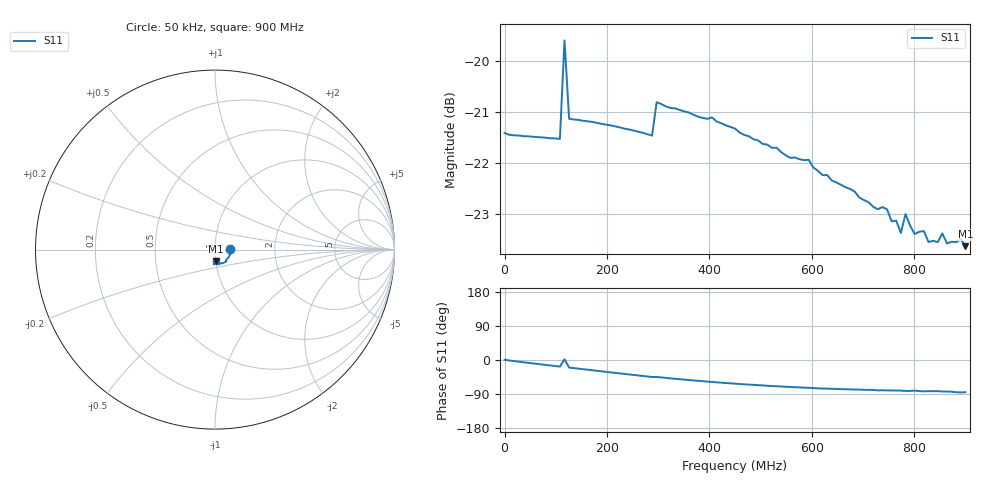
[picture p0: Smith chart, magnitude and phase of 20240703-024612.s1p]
# HZ S RI R 50
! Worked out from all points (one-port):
!   101 points, 50 kHz to 900 MHz, reference 50 ohm
!   lowest |S11| = -23.6 dB at 900 MHz (marker M1), VSWR 1.14, Z = 50.1 - j6.6 ohm
!   |S11| at or under -10 dB: start of sweep to end of sweep
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50000  0.085 0.00101
1.08044e8  0.08 -0.025
1.170435e8  0.1047 0.00359
1.26043e8  0.0825 -0.03
2.250375e8  0.0702 -0.0498
2.88034e8  0.0599 -0.0596
2.970335e8  0.0645 -0.0643
3.42031e8  0.0568 -0.0692
4.50025e8  0.0397 -0.0761
5.670185e8  0.0252 -0.0764
5.94017e8  0.0228 -0.0767
6.210155e8  0.0196 -0.0747
6.750125e8  0.0161 -0.0731
7.2001e8  0.0135 -0.0706
7.470085e8  0.0121 -0.0705
7.56008e8  0.0118 -0.0686
7.650075e8  0.0114 -0.0688
7.74007e8  0.0109 -0.0669
7.830065e8  0.0102 -0.07
7.92006e8  0.0101 -0.0682
8.010055e8  0.0108 -0.0668
8.190045e8  0.00869 -0.0675
8.28004e8  0.00896 -0.0658
8.46003e8  0.00892 -0.0658
8.550025e8  0.00812 -0.0672
8.64002e8  0.00784 -0.0657
8.910005e8  0.00531 -0.0666
9e8  0.00568 -0.0655
